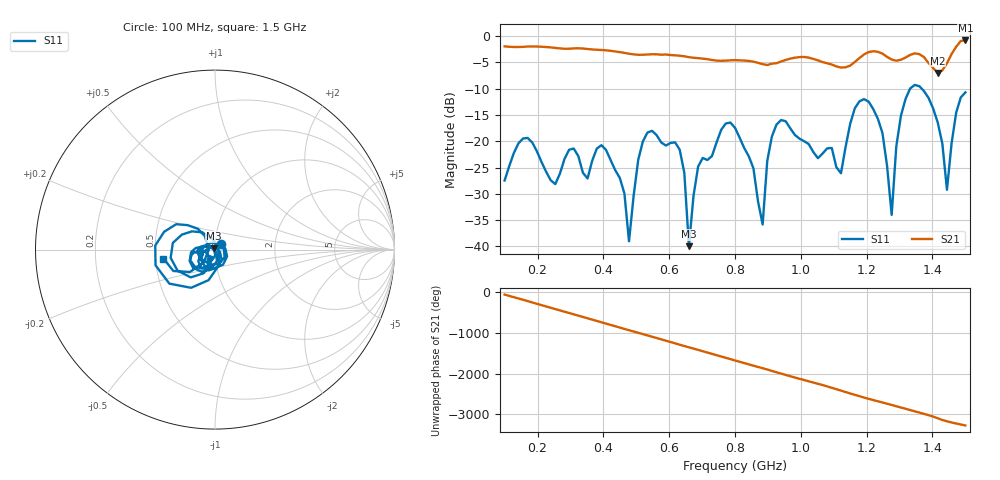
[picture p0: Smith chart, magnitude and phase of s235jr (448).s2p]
! NanoVNA-App
! Date: 2025-09-25 15:07:39
! Start: 100MHz Stop: 1,5GHz Points: 101
! S-Parameter data: F S11 S21 S12 S22
# Hz S RI R 50
!  Frequency  S11_Real  S11_Imag  S21_Real  S21_Imag  S12_Real  S12_Imag  S22_Real  S22_Imag
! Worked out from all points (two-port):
!   101 points, 100 MHz to 1.5 GHz, reference 50 ohm
!   highest |S21| = -0.84 dB at 1.5 GHz (marker M1); lowest = -7.0 dB at 1.416 GHz (marker M2)
!   |S21| within 3 dB of the highest: start of sweep to 644.9 MHz; 1.185 GHz to 1.259 GHz (74.08 MHz wide, 6.06 % of centre) (the widest 2 of 4)
!   lowest |S11| = -40.0 dB at 660 MHz (marker M3), VSWR 1.02, Z = 49.2 + j0.648 ohm
!   |S11| at or under -10 dB: start of sweep to 1.332 GHz; 1.367 GHz to end of sweep
!   S12 and S22 are empty: the file has one direction only
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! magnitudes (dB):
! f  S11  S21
! 100 MHz  -27.5  -2.0
! 170 MHz  -19.4  -2.0
! 338 MHz  -26.0  -2.4
! 408 MHz  -21.6  -2.7
! 478 MHz  -39.0  -3.4
! 520 MHz  -20.1  -3.6
! 576 MHz  -20.2  -3.6
! 632 MHz  -21.6  -3.7
! 660 MHz  -40.0  -4.0
! 688 MHz  -24.8  -4.2
! 800 MHz  -17.4  -4.6
! 884 MHz  -35.8  -5.3
! 926 MHz  -16.8  -5.2
! 1.038 GHz  -22.1  -4.4
! 1.122 GHz  -26.1  -6.0
! 1.206 GHz  -12.5  -3.0
! 1.276 GHz  -34.0  -4.5
! 1.29 GHz  -21.0  -4.7
! 1.332 GHz  -10.0  -3.6
! 1.416 GHz  -16.5  -7.0
! 1.444 GHz  -29.2  -5.2
! 1.5 GHz  -10.7  -0.8
